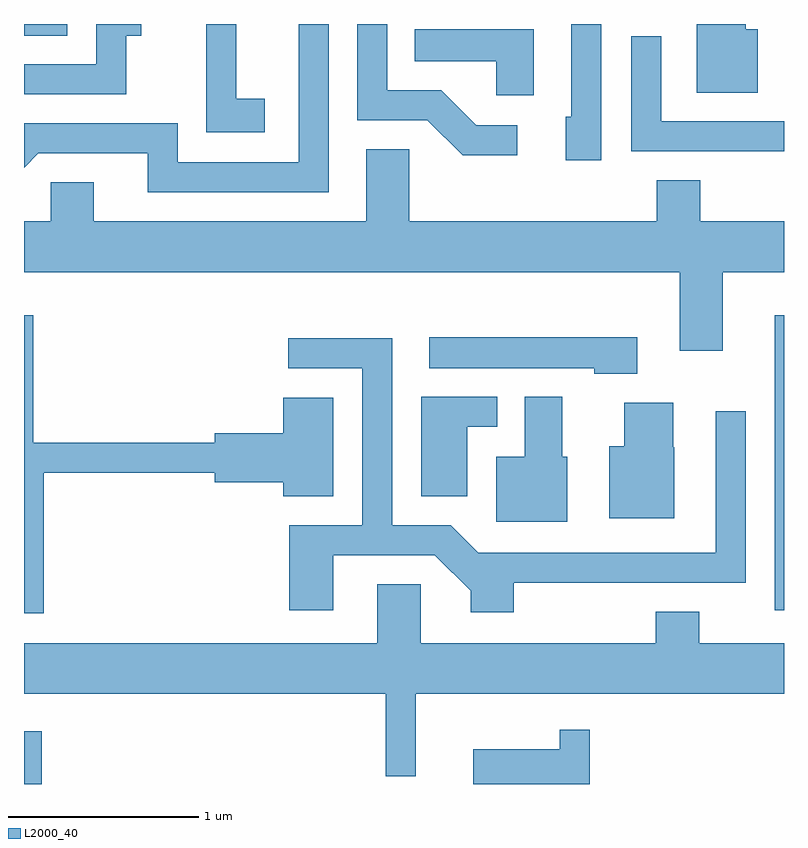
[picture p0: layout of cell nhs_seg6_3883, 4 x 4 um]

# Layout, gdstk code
import gdstk
lib = gdstk.Library(unit=1e-6, precision=1e-09)
def R(c, l, rs):  # rectangles x0, y0, x1, y1
    for r in rs: c.add(gdstk.rectangle(r[:2], r[2:], *l))
def P(c, l, *ps):  # polygons
    for p in ps: c.add(gdstk.Polygon(p, *l))
L2000_40 = (2000, 40)

nhs_seg6_3883 = lib.new_cell('nhs_seg6_3883')
R(nhs_seg6_3883, L2000_40, [(301.611,1616.162,301.704,1616.439), (305.561,1617.076,305.611,1618.629), (301.611,1620.101,301.839,1620.162)])
P(nhs_seg6_3883, L2000_40, [(304.649,1620.162),(304.491,1620.162),(304.491,1619.674),(304.461,1619.674),(304.461,1619.446),(304.649,1619.446)],
  [(302.149,1620.101),(302.228,1620.101),(302.228,1620.162),(301.991,1620.162),(301.991,1619.949),(301.611,1619.949),(301.611,1619.791),(302.149,1619.791)],
  [(303.214,1620.162),(303.056,1620.162),(303.056,1619.434),(302.419,1619.434),(302.419,1619.639),(301.611,1619.639),(301.611,1619.405),(301.687,1619.481),(302.261,1619.481),(302.261,1619.276),(303.214,1619.276)],
  [(302.879,1619.769),(302.729,1619.769),(302.729,1620.162),(302.571,1620.162),(302.571,1619.591),(302.879,1619.591)],
  [(304.208,1619.629),(303.992,1619.629),(303.807,1619.814),(303.524,1619.814),(303.524,1620.162),(303.366,1620.162),(303.366,1619.656),(303.734,1619.656),(303.919,1619.471),(304.208,1619.471)],
  [(305.474,1620.134),(305.409,1620.134),(305.409,1620.162),(305.151,1620.162),(305.151,1619.801),(305.474,1619.801)],
  [(304.294,1620.134),(303.668,1620.134),(303.668,1619.966),(304.096,1619.966),(304.096,1619.786),(304.294,1619.786)],
  [(305.611,1619.649),(304.964,1619.649),(304.964,1620.098),(304.806,1620.098),(304.806,1619.491),(305.611,1619.491)],
  [(305.289,1618.856),(305.611,1618.856),(305.611,1619.124),(305.169,1619.124),(305.169,1619.339),(304.941,1619.339),(304.941,1619.124),(303.639,1619.124),(303.639,1619.504),(303.411,1619.504),(303.411,1619.124),(301.979,1619.124),(301.979,1619.329),(301.751,1619.329),(301.751,1619.124),(301.611,1619.124),(301.611,1618.856),(305.061,1618.856),(305.061,1618.441),(305.289,1618.441)],
  [(301.714,1617.801),(302.616,1617.801),(302.616,1617.751),(302.976,1617.751),(302.976,1617.676),(303.239,1617.676),(303.239,1618.194),(302.976,1618.194),(302.976,1618.009),(302.616,1618.009),(302.616,1617.959),(301.659,1617.959),(301.659,1618.629),(301.611,1618.629),(301.611,1617.061),(301.714,1617.061)],
  [(304.839,1618.514),(303.743,1618.514),(303.743,1618.351),(304.611,1618.351),(304.611,1618.321),(304.839,1618.321)],
  [(304.189,1617.221),(305.409,1617.221),(305.409,1618.123),(305.251,1618.123),(305.251,1617.379),(304.002,1617.379),(303.857,1617.524),(303.549,1617.524),(303.549,1618.509),(303.003,1618.509),(303.003,1618.351),(303.391,1618.351),(303.391,1617.524),(303.006,1617.524),(303.006,1617.076),(303.239,1617.076),(303.239,1617.366),(303.774,1617.366),(303.961,1617.179),(303.961,1617.066),(304.189,1617.066)],
  [(303.944,1618.041),(304.103,1618.041),(304.103,1618.199),(303.701,1618.199),(303.701,1617.676),(303.944,1617.676)],
  [(304.469,1617.884),(304.444,1617.884),(304.444,1618.199),(304.246,1618.199),(304.246,1617.884),(304.096,1617.884),(304.096,1617.541),(304.469,1617.541)],
  [(305.034,1617.935),(305.029,1617.935),(305.029,1618.169),(304.771,1618.169),(304.771,1617.939),(304.691,1617.939),(304.691,1617.561),(305.034,1617.561)],
  [(303.674,1616.636),(305.611,1616.636),(305.611,1616.904),(305.164,1616.904),(305.164,1617.069),(304.936,1617.069),(304.936,1616.904),(303.699,1616.904),(303.699,1617.214),(303.471,1617.214),(303.471,1616.904),(301.611,1616.904),(301.611,1616.636),(303.516,1616.636),(303.516,1616.203),(303.674,1616.203)],
  [(304.589,1616.448),(304.431,1616.448),(304.431,1616.344),(303.976,1616.344),(303.976,1616.162),(304.589,1616.162)])

lib.write_gds('nhs_seg6_3883.gds')
